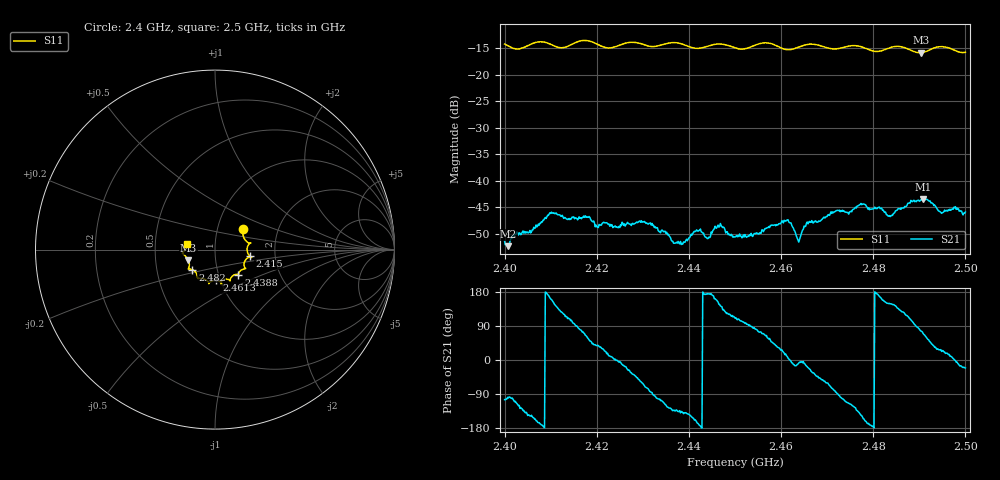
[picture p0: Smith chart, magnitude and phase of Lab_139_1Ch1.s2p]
# Hz S RI R 50
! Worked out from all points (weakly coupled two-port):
!   601 points, 2.4 GHz to 2.5 GHz, reference 50 ohm
!   highest |S21| = -43.42 dB at 2.4908 GHz (marker M1); lowest = -52.3 dB at 2.4008 GHz (marker M2)
!   lowest |S11| = -15.9 dB at 2.4903 GHz (marker M3), VSWR 1.38, Z = 36.8 - j4.45 ohm
!   |S11| at or under -10 dB: start of sweep to end of sweep
!   S12 and S22 are empty: the file has one direction only
!   S11 on the Smith chart (normalised r, x): 2.4 GHz: 1.33, +0.31; 2.415 GHz: 1.47, -0.11; 2.4388 GHz: 1.24, -0.36; 2.4613 GHz: 0.96, -0.34; 2.482 GHz: 0.76, -0.17; 2.5 GHz: 0.72, +0.05
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2.4e9  0.1575 0.1127  -0.000678 -0.00261  0 0  0 0
2.400833e9  0.156 0.1004  -0.000428 -0.00239  0 0  0 0
2.410167e9  0.1888 0.0292  -0.00476 0.00175  0 0  0 0
2.415e9  0.1927 -0.0365  -0.000542 0.00454  0 0  0 0
2.416667e9  0.2035 -0.0442  0.00092 0.0043  0 0  0 0
2.420167e9  0.1878 -0.0432  0.00285 0.00227  0 0  0 0
2.433333e9  0.1323 -0.1312  -0.000751 -0.00331  0 0  0 0
2.438833e9  0.1301 -0.1405  -0.00208 -0.00165  0 0  0 0
2.442e9  0.0996 -0.1457  -0.00328 -0.000719  0 0  0 0
2.444167e9  0.0852 -0.1649  -0.00285 0.000274  0 0  0 0
2.446667e9  0.0843 -0.1746  -0.00309 0.00205  0 0  0 0
2.45e9  0.0685 -0.1648  -0.00104 0.00277  0 0  0 0
2.461333e9  0.00786 -0.1711  0.00423 0.0007  0 0  0 0
2.463667e9  -0.0239 -0.1787  0.00273 -0.000514  0 0  0 0
2.466667e9  -0.0346 -0.19  0.0036 -0.0022  0 0  0 0
2.4775e9  -0.0973 -0.1539  -0.005 -0.00325  0 0  0 0
2.482e9  -0.1261 -0.1117  -0.00491 0.00198  0 0  0 0
2.483333e9  -0.1396 -0.1087  -0.00398 0.00239  0 0  0 0
2.490333e9  -0.149 -0.0588  0.00154 0.00645  0 0  0 0
2.490833e9  -0.1531 -0.0514  0.00232 0.00633  0 0  0 0
2.494667e9  -0.1818 -0.0204  0.00449 0.00231  0 0  0 0
2.5e9  -0.1587 0.0323  0.00474 -0.00183  0 0  0 0
